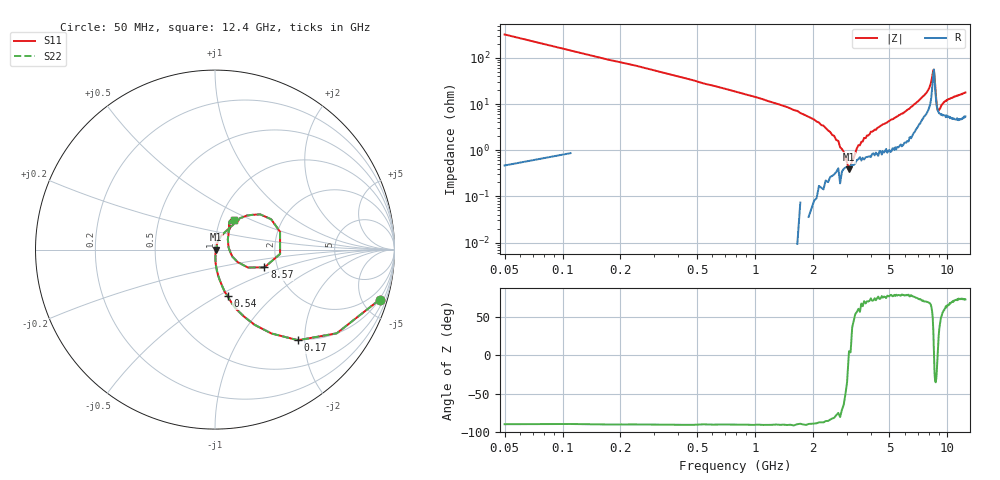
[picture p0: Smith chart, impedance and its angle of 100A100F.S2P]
!  American Technical Ceramics  Date:  3/13/98
!  One Norden Lane
!  Huntington Station,  NY.  11746-2102
!  Tel:  (516) 547-5700  Fax:  (516) 547-5748
!  Part Number  100A100F
!  Description: Porcelain, High Q, Low ESR
!  Application: Bypass, Coupling, Timing, Feedback
!  Tuning, Impedance Match, Blocking
# GHZ S DB R 50
! Freq  |S11|  S11 Ph  |S21|  S21 Ph  |S12|  S12 Ph  |S22|  S22 Ph
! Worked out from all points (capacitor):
!   201 points, 50 MHz to 12.4 GHz, reference 50 ohm
!   read as one part in series: C = 10 pF near 110 MHz
!   lowest |Z| = 384 mohm at 3.08 GHz (marker M1)
!   series resonance near 3.073 GHz, so ESL is about 270 pH
!   S11 on the Smith chart (normalised r, x): 50 MHz: 0.96, -6.58; 170 MHz: 0.98, -1.86; 540 MHz: 1.00, -0.56; 8.57 GHz: 1.71, -0.37; 12.4 GHz: 1.16, +0.40
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0.05  -0.37 -16.9  -10.51 73.0  -10.51 73.0  -0.37 -16.9
0.11  -1.69 -34.5  -4.87 55.0  -4.87 55.0  -1.69 -34.5
0.17  -3.29 -47.5  -2.70 42.7  -2.70 42.7  -3.29 -47.5
0.3  -6.49 -62.2  -1.09 28.2  -1.09 28.2  -6.49 -62.2
0.54  -11.40 -74.9  -0.34 15.6  -0.34 15.6  -11.40 -74.9
1.16  -18.52 -85.0  -0.06 6.6  -0.06 6.6  -18.52 -85.0
2.15  -27.92 -86.7  -0.03 2.2  -0.03 2.2  -27.92 -86.7
2.71  -36.65 -75.0  -0.04 0.9  -0.04 0.9  -36.65 -75.0
3.08  -45.34 -9.8  -0.02 -0.1  -0.02 -0.1  -45.34 -9.8
3.26  -41.31 32.9  -0.02 -0.3  -0.02 -0.3  -41.31 32.9
3.63  -35.95 54.3  -0.04 -0.8  -0.04 -0.8  -35.95 54.3
4.19  -32.62 63.3  -0.05 -1.8  -0.05 -1.8  -32.62 63.3
6.23  -24.01 69.2  -0.13 -4.9  -0.13 -4.9  -24.01 69.2
7.83  -15.18 53.8  -0.47 -9.3  -0.47 -9.3  -15.18 53.8
8.32  -9.91 37.9  -1.60 -15.4  -1.60 -15.4  -9.91 37.9
8.45  -8.50 15.3  -3.29 -12.6  -3.29 -12.6  -8.50 15.3
8.57  -10.67 -19.8  -2.94 5.5  -2.94 5.5  -10.67 -19.8
8.76  -19.68 -21.8  -0.88 3.7  -0.88 3.7  -19.68 -21.8
8.88  -22.30 8.8  -0.59 1.1  -0.59 1.1  -22.30 8.8
9.56  -17.63 53.8  -0.38 -3.5  -0.38 -3.5  -17.63 53.8
10.36  -15.96 60.0  -0.35 -4.8  -0.35 -4.8  -15.96 60.0
12.4  -14.17 58.1  -0.32 -7.8  -0.32 -7.8  -14.17 58.1
